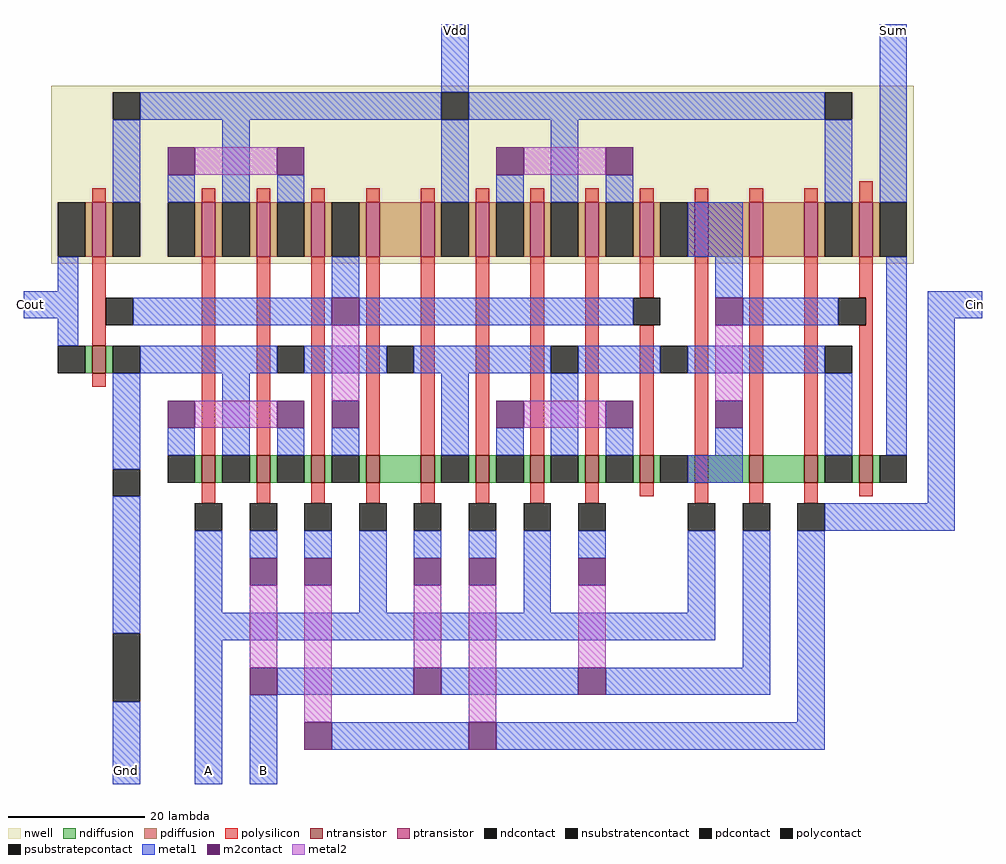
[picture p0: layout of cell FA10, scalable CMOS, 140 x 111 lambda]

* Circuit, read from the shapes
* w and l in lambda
.subckt FA10 A B Cin Cout Gnd Sum Vdd
M1 Gnd n1 Cout Gnd nfet w=4 l=2
M2 Gnd A n2 Gnd nfet w=4 l=2
M3 n2 B Gnd Gnd nfet w=4 l=2
M4 n1 Cin n2 Gnd nfet w=4 l=2
M5 n3 A n1 Gnd nfet w=4 l=2
M6 Gnd B n3 Gnd nfet w=4 l=2
M7 n4 Cin Gnd Gnd nfet w=4 l=2
M8 Gnd A n4 Gnd nfet w=4 l=2
M9 n4 B Gnd Gnd nfet w=4 l=2
M10 n5 n1 n4 Gnd nfet w=4 l=2
M11 n6 A n5 Gnd nfet w=4 l=2
M12 n7 B n6 Gnd nfet w=4 l=2
M13 Gnd Cin n7 Gnd nfet w=4 l=2
M14 Sum n5 Gnd Gnd nfet w=4 l=2
M15 Vdd n1 Cout Vdd pfet w=8 l=2
M16 Vdd A n8 Vdd pfet w=8 l=2
M17 n8 B Vdd Vdd pfet w=8 l=2
M18 n1 Cin n8 Vdd pfet w=8 l=2
M19 n9 A n1 Vdd pfet w=8 l=2
M20 Vdd B n9 Vdd pfet w=8 l=2
M21 n10 Cin Vdd Vdd pfet w=8 l=2
M22 Vdd A n10 Vdd pfet w=8 l=2
M23 n10 B Vdd Vdd pfet w=8 l=2
M24 n5 n1 n10 Vdd pfet w=8 l=2
M25 n11 A n5 Vdd pfet w=8 l=2
M26 n12 B n11 Vdd pfet w=8 l=2
M27 Vdd Cin n12 Vdd pfet w=8 l=2
M28 Sum n5 Vdd Vdd pfet w=8 l=2
.ends

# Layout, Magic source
magic
tech scmos
<< nwell >>
rect -42 45 84 71
<< polysilicon >>
rect -36 54 -34 56
rect -20 54 -18 56
rect -12 54 -10 56
rect -4 54 -2 56
rect 4 54 6 56
rect 12 54 14 56
rect 20 54 22 56
rect 28 54 30 56
rect 36 54 38 56
rect 44 54 46 56
rect 52 54 54 56
rect 60 54 62 56
rect 68 54 70 56
rect 76 54 78 57
rect -36 33 -34 46
rect -36 27 -34 29
rect -20 17 -18 46
rect -12 17 -10 46
rect -4 17 -2 46
rect 4 17 6 46
rect 12 17 14 46
rect 20 17 22 46
rect 28 17 30 46
rect 36 17 38 46
rect 44 40 46 46
rect 44 17 46 36
rect 52 17 54 46
rect 60 17 62 46
rect 68 17 70 46
rect 76 40 78 46
rect 77 36 78 40
rect 76 17 78 36
rect -20 10 -18 13
rect -12 10 -10 13
rect -4 10 -2 13
rect 4 10 6 13
rect 12 10 14 13
rect 20 10 22 13
rect 28 10 30 13
rect 36 10 38 13
rect 44 11 46 13
rect 52 10 54 13
rect 60 10 62 13
rect 68 10 70 13
rect 76 11 78 13
<< ndiffusion >>
rect -37 29 -36 33
rect -34 29 -33 33
rect -21 13 -20 17
rect -18 13 -17 17
rect -13 13 -12 17
rect -10 13 -9 17
rect -5 13 -4 17
rect -2 13 -1 17
rect 3 13 4 17
rect 6 13 12 17
rect 14 13 15 17
rect 19 13 20 17
rect 22 13 23 17
rect 27 13 28 17
rect 30 13 31 17
rect 35 13 36 17
rect 38 13 39 17
rect 43 13 44 17
rect 46 13 47 17
rect 51 13 52 17
rect 54 13 60 17
rect 62 13 68 17
rect 70 13 71 17
rect 75 13 76 17
rect 78 13 79 17
<< pdiffusion >>
rect -37 46 -36 54
rect -34 46 -33 54
rect -21 46 -20 54
rect -18 46 -17 54
rect -13 46 -12 54
rect -10 46 -9 54
rect -5 46 -4 54
rect -2 46 -1 54
rect 3 46 4 54
rect 6 46 12 54
rect 14 46 15 54
rect 19 46 20 54
rect 22 46 23 54
rect 27 46 28 54
rect 30 46 31 54
rect 35 46 36 54
rect 38 46 39 54
rect 43 46 44 54
rect 46 46 47 54
rect 51 46 52 54
rect 54 46 60 54
rect 62 46 68 54
rect 70 46 71 54
rect 75 46 76 54
rect 78 46 79 54
<< metal1 >>
rect 15 70 19 80
rect -29 66 15 70
rect 19 66 71 70
rect -33 54 -29 66
rect -25 54 -21 58
rect -17 54 -13 66
rect -9 54 -5 58
rect 15 54 19 66
rect 23 54 27 58
rect 31 54 35 66
rect 39 54 43 58
rect 71 54 75 66
rect 51 46 59 54
rect 79 54 83 80
rect -41 41 -38 46
rect -46 37 -38 41
rect -1 40 3 46
rect 55 40 59 46
rect -41 33 -38 37
rect -30 36 -1 40
rect 3 36 43 40
rect 59 36 73 40
rect -29 29 -9 33
rect -5 29 7 33
rect 11 29 31 33
rect 35 29 47 33
rect 51 29 71 33
rect -33 15 -29 29
rect -25 17 -21 21
rect -17 17 -13 29
rect -9 17 -5 21
rect -1 17 3 21
rect 15 17 19 29
rect 23 17 27 21
rect 31 17 35 29
rect 39 17 43 21
rect 55 17 59 21
rect 51 13 59 17
rect 71 17 75 29
rect 80 17 83 46
rect 86 37 94 41
rect -33 -9 -29 11
rect 86 10 90 37
rect -33 -31 -29 -19
rect -21 -6 -17 6
rect -13 2 -9 6
rect -5 2 -1 6
rect 3 -6 7 6
rect 11 2 15 6
rect 19 2 23 6
rect 27 -6 31 6
rect 35 2 39 6
rect 51 -6 55 6
rect -21 -10 55 -6
rect -21 -31 -17 -10
rect 59 -14 63 6
rect -9 -18 11 -14
rect 15 -18 35 -14
rect 39 -18 63 -14
rect 71 6 90 10
rect -13 -31 -9 -18
rect 67 -22 71 6
rect -1 -26 19 -22
rect 23 -26 71 -22
<< metal2 >>
rect -21 58 -9 62
rect 27 58 39 62
rect -1 25 3 36
rect 55 25 59 36
rect -21 21 -9 25
rect 27 21 39 25
rect -13 -14 -9 -2
rect -5 -22 -1 -2
rect 11 -14 15 -2
rect 19 -22 23 -2
rect 35 -14 39 -2
<< ntransistor >>
rect -36 29 -34 33
rect -20 13 -18 17
rect -12 13 -10 17
rect -4 13 -2 17
rect 4 13 6 17
rect 12 13 14 17
rect 20 13 22 17
rect 28 13 30 17
rect 36 13 38 17
rect 44 13 46 17
rect 52 13 54 17
rect 60 13 62 17
rect 68 13 70 17
rect 76 13 78 17
<< ptransistor >>
rect -36 46 -34 54
rect -20 46 -18 54
rect -12 46 -10 54
rect -4 46 -2 54
rect 4 46 6 54
rect 12 46 14 54
rect 20 46 22 54
rect 28 46 30 54
rect 36 46 38 54
rect 44 46 46 54
rect 52 46 54 54
rect 60 46 62 54
rect 68 46 70 54
rect 76 46 78 54
<< polycontact >>
rect -34 36 -30 40
rect 43 36 47 40
rect 73 36 77 40
rect -21 6 -17 10
rect -13 6 -9 10
rect -5 6 -1 10
rect 3 6 7 10
rect 11 6 15 10
rect 19 6 23 10
rect 27 6 31 10
rect 35 6 39 10
rect 51 6 55 10
rect 59 6 63 10
rect 67 6 71 10
<< ndcontact >>
rect -41 29 -37 33
rect -33 29 -29 33
rect -25 13 -21 17
rect -17 13 -13 17
rect -9 13 -5 17
rect -1 13 3 17
rect 15 13 19 17
rect 23 13 27 17
rect 31 13 35 17
rect 39 13 43 17
rect 47 13 51 17
rect 71 13 75 17
rect 79 13 83 17
<< pdcontact >>
rect -41 46 -37 54
rect -33 46 -29 54
rect -25 46 -21 54
rect -17 46 -13 54
rect -9 46 -5 54
rect -1 46 3 54
rect 15 46 19 54
rect 23 46 27 54
rect 31 46 35 54
rect 39 46 43 54
rect 47 46 51 54
rect 71 46 75 54
rect 79 46 83 54
<< m2contact >>
rect -25 58 -21 62
rect -9 58 -5 62
rect 23 58 27 62
rect 39 58 43 62
rect -1 36 3 40
rect 55 36 59 40
rect -25 21 -21 25
rect -9 21 -5 25
rect -1 21 3 25
rect 23 21 27 25
rect 39 21 43 25
rect 55 21 59 25
rect -13 -2 -9 2
rect -5 -2 -1 2
rect 11 -2 15 2
rect 19 -2 23 2
rect 35 -2 39 2
rect -13 -18 -9 -14
rect 11 -18 15 -14
rect 35 -18 39 -14
rect -5 -26 -1 -22
rect 19 -26 23 -22
<< psubstratepcontact >>
rect -9 29 -5 33
rect 7 29 11 33
rect 31 29 35 33
rect 47 29 51 33
rect 71 29 75 33
rect -33 11 -29 15
rect -33 -19 -29 -9
<< nsubstratencontact >>
rect -33 66 -29 70
rect 15 66 19 70
rect 71 66 75 70
<< labels >>
rlabel metal1 -45 39 -45 39 3 Cout
rlabel metal1 81 79 81 79 6 Sum
rlabel metal1 -31 -29 -31 -29 1 Gnd
rlabel metal1 -19 -29 -19 -29 1 A
rlabel metal1 -11 -29 -11 -29 1 B
rlabel metal1 93 39 93 39 7 Cin
rlabel metal1 17 79 17 79 5 Vdd
<< end >>
